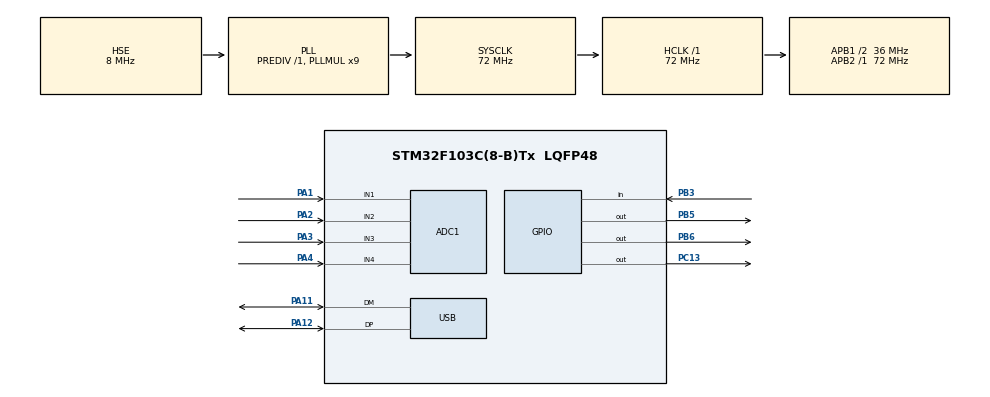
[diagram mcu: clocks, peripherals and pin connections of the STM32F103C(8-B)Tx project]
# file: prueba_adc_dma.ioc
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ADC1.Channel-0\#ChannelRegularConversion=ADC_CHANNEL_1
ADC1.Channel-1\#ChannelRegularConversion=ADC_CHANNEL_2
ADC1.Channel-4\#ChannelRegularConversion=ADC_CHANNEL_3
ADC1.Channel-5\#ChannelRegularConversion=ADC_CHANNEL_4
ADC1.ContinuousConvMode=ENABLE
ADC1.NbrOfConversion=4
ADC1.NbrOfConversionFlag=1
ADC1.Rank-0\#ChannelRegularConversion=1
ADC1.Rank-1\#ChannelRegularConversion=2
ADC1.Rank-4\#ChannelRegularConversion=3
ADC1.Rank-5\#ChannelRegularConversion=4
ADC1.SamplingTime-0\#ChannelRegularConversion=ADC_SAMPLETIME_1CYCLE_5
ADC1.SamplingTime-1\#ChannelRegularConversion=ADC_SAMPLETIME_1CYCLE_5
ADC1.SamplingTime-4\#ChannelRegularConversion=ADC_SAMPLETIME_1CYCLE_5
ADC1.SamplingTime-5\#ChannelRegularConversion=ADC_SAMPLETIME_1CYCLE_5
ADC1.master=1
Dma.ADC1.0.Direction=DMA_PERIPH_TO_MEMORY
Dma.ADC1.0.Instance=DMA1_Channel1
Dma.ADC1.0.MemDataAlignment=DMA_MDATAALIGN_WORD
Dma.ADC1.0.MemInc=DMA_MINC_ENABLE
Dma.ADC1.0.Mode=DMA_CIRCULAR
Dma.ADC1.0.PeriphDataAlignment=DMA_PDATAALIGN_WORD
Dma.ADC1.0.PeriphInc=DMA_PINC_DISABLE
Dma.ADC1.0.Priority=DMA_PRIORITY_LOW
Dma.Request0=ADC1
Mcu.Family=STM32F1
Mcu.Name=STM32F103C(8-B)Tx
Mcu.Package=LQFP48
NVIC.ADC1_2_IRQn=true\:0\:0\:false\:false\:true\:true\:true\:true
NVIC.DMA1_Channel1_IRQn=true\:0\:0\:false\:false\:true\:false\:true\:true
NVIC.PriorityGroup=NVIC_PRIORITYGROUP_4
NVIC.TIM2_IRQn=true\:0\:0\:false\:false\:true\:true\:true\:true
NVIC.USB_LP_CAN1_RX0_IRQn=true\:0\:0\:false\:false\:true\:false\:true\:true
PA1.Signal=ADCx_IN1
PA11.Mode=Device
PA11.Signal=USB_DM
PA12.Mode=Device
PA12.Signal=USB_DP
PA13.Mode=Serial_Wire
PA13.Signal=SYS_JTMS-SWDIO
PA14.Mode=Serial_Wire
PA14.Signal=SYS_JTCK-SWCLK
PA2.Signal=ADCx_IN2
PA3.Signal=ADCx_IN3
PA4.Signal=ADCx_IN4
PB3.Signal=GPIO_Input
PB5.Signal=GPIO_Output
PB6.Signal=GPIO_Output
PC13-TAMPER-RTC.Signal=GPIO_Output
PD0-OSC_IN.Mode=HSE-External-Oscillator
PD0-OSC_IN.Signal=RCC_OSC_IN
PD1-OSC_OUT.Mode=HSE-External-Oscillator
PD1-OSC_OUT.Signal=RCC_OSC_OUT
ProjectManager.HeapSize=0x200
ProjectManager.StackSize=0x400
ProjectManager.TargetToolchain=STM32CubeIDE
RCC.ADCPresc=RCC_ADCPCLK2_DIV8
RCC.AHBFreq_Value=72000000
RCC.APB1CLKDivider=RCC_HCLK_DIV2
RCC.APB1Freq_Value=36000000
RCC.APB1TimFreq_Value=72000000
RCC.APB2Freq_Value=72000000
RCC.APB2TimFreq_Value=72000000
RCC.HCLKFreq_Value=72000000
RCC.PLLMUL=RCC_PLL_MUL9
RCC.PLLSourceVirtual=RCC_PLLSOURCE_HSE
RCC.SYSCLKFreq_VALUE=72000000
RCC.SYSCLKSource=RCC_SYSCLKSOURCE_PLLCLK
RCC.USBFreq_Value=48000000
RCC.USBPrescaler=RCC_USBCLKSOURCE_PLL_DIV1_5
SH.ADCx_IN1.0=ADC1_IN1,IN1
SH.ADCx_IN2.0=ADC1_IN2,IN2
SH.ADCx_IN3.0=ADC1_IN3,IN3
SH.ADCx_IN4.0=ADC1_IN4,IN4
TIM2.AutoReloadPreload=TIM_AUTORELOAD_PRELOAD_ENABLE
TIM2.Period=9
TIM2.Prescaler=7199
USB_DEVICE.CLASS_NAME_FS=CDC
USB_DEVICE.VirtualMode=Cdc
USB_DEVICE.VirtualModeFS=Cdc_FS
VP_TIM2_VS_ClockSourceINT.Mode=Internal
VP_USB_DEVICE_VS_USB_DEVICE_CDC_FS.Mode=CDC_FS
board=custom

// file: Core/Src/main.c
/* USER CODE BEGIN Header */
/**
  ******************************************************************************
  * @file           : main.c
  * @brief          : Main program body
  ******************************************************************************
  * @attention
  *
  * Copyright (c) 2024 STMicroelectronics.
  * All rights reserved.
  *
  * This software is licensed under terms that can be found in the LICENSE file
  * in the root directory of this software component.
  * If no LICENSE file comes with this software, it is provided AS-IS.
  *
  ******************************************************************************
  */
/* USER CODE END Header */
#include "main.h"
#include "usb_device.h"

/* USER CODE BEGIN Includes */
#include "usbd_cdc_if.h"
#include "string.h"
/* USER CODE END Includes */

ADC_HandleTypeDef hadc1;
DMA_HandleTypeDef hdma_adc1;

TIM_HandleTypeDef htim2;

/* USER CODE BEGIN PV */
uint32_t adc_in[4];
uint8_t buffer[64];
//uint32_t sumas_adc[2];
//uint32_t contador_adc;
/* USER CODE END PV */

void SystemClock_Config(void);
static void MX_GPIO_Init(void);
static void MX_DMA_Init(void);
static void MX_ADC1_Init(void);
static void MX_TIM2_Init(void);

int main(void)
{

  /* MCU Configuration--------------------------------------------------------*/

  /* Reset of all peripherals, Initializes the Flash interface and the Systick. */
  HAL_Init();

  /* USER CODE BEGIN Init */
  //sumas_adc[0]=0;
 // sumas_adc[1]=0;
  /* USER CODE END Init */

  /* Configure the system clock */
  SystemClock_Config();

  /* Initialize all configured peripherals */
  MX_GPIO_Init();
  MX_DMA_Init();
  MX_ADC1_Init();
  MX_TIM2_Init();
  MX_USB_DEVICE_Init();
  /* USER CODE BEGIN 2 */
  HAL_TIM_Base_Start_IT(&htim2);
  HAL_ADC_Start_DMA(&hadc1, adc_in, 4);
  //char *str = "Test\n";
  char str[30]="";
  char str_aux[30]="";

  char mode = 'C';
  int valor = 0;
  /* USER CODE END 2 */

  /* Infinite loop */
  /* USER CODE BEGIN WHILE */
  while (1)
  {

	  if(HAL_GPIO_ReadPin(GPIOB,GPIO_PIN_3)==GPIO_PIN_SET){
		  HAL_Delay(300);
		  sprintf(str, "$USB#\n");//manda la solicitud de conexion
		  memset(buffer, '\0',64);
		  CDC_Transmit_FS((uint8_t*) str, strlen(str));
		  HAL_Delay(300);
		  if(buffer[0]=='$' && buffer[1]=='O' && buffer[2]=='K' && buffer[3]=='#'){//si responde la pc, entra al bucle
			while(HAL_GPIO_ReadPin(GPIOB,GPIO_PIN_3)==GPIO_PIN_SET){//mientras no se apreta el boton no se sale del modo

				if (buffer[0]=='$' && buffer[1]=='C' && buffer[9]=='#') {//comando config
					sprintf(str, "$D,%c,%04d,%04d,%04d", mode,valor,(int)adc_in[0],(int)adc_in[1]);
					mode=buffer[3];
					sprintf(str_aux, "%c%c%c%c",buffer[5],buffer[6],buffer[7],buffer[8]);
					valor=atoi(str_aux);
					CDC_Transmit_FS((uint8_t*) str, strlen(str));
					memset(buffer, '\0',64);

				}else if(buffer[0]=='$' && buffer[1]=='R' && buffer[2]=='e' && buffer[3]=='q'){//comando request
					//sprintf(str, "$D,%04d,%04d#\n", (int)adc_in[0],(int)adc_in[1]);
					sprintf(str, "$D,%c,%04d,%04d,%04d", mode,valor,(int)adc_in[0],(int)adc_in[1]);
					CDC_Transmit_FS((uint8_t*) str, strlen(str));
					memset(buffer, '\0',64);
				}
		  //call a funciones de control y display
			}//fin while
		  }//fin if respuesta pc
	  }
	//	    HAL_Delay(1000);
	  //HAL_Delay(300);

    /* USER CODE END WHILE */

  }
}

void SystemClock_Config(void)
{
  RCC_OscInitTypeDef RCC_OscInitStruct = {0};
  RCC_ClkInitTypeDef RCC_ClkInitStruct = {0};
  RCC_PeriphCLKInitTypeDef PeriphClkInit = {0};

  /** Initializes the RCC Oscillators according to the specified parameters
  * in the RCC_OscInitTypeDef structure.
  */
  RCC_OscInitStruct.OscillatorType = RCC_OSCILLATORTYPE_HSE;
  RCC_OscInitStruct.HSEState = RCC_HSE_ON;
  RCC_OscInitStruct.HSEPredivValue = RCC_HSE_PREDIV_DIV1;
  RCC_OscInitStruct.HSIState = RCC_HSI_ON;
  RCC_OscInitStruct.PLL.PLLState = RCC_PLL_ON;
  RCC_OscInitStruct.PLL.PLLSource = RCC_PLLSOURCE_HSE;
  RCC_OscInitStruct.PLL.PLLMUL = RCC_PLL_MUL9;
  if (HAL_RCC_OscConfig(&RCC_OscInitStruct) != HAL_OK)
  {
    Error_Handler();
  }

  /** Initializes the CPU, AHB and APB buses clocks
  */
  RCC_ClkInitStruct.ClockType = RCC_CLOCKTYPE_HCLK|RCC_CLOCKTYPE_SYSCLK
                              |RCC_CLOCKTYPE_PCLK1|RCC_CLOCKTYPE_PCLK2;
  RCC_ClkInitStruct.SYSCLKSource = RCC_SYSCLKSOURCE_PLLCLK;
  RCC_ClkInitStruct.AHBCLKDivider = RCC_SYSCLK_DIV1;
  RCC_ClkInitStruct.APB1CLKDivider = RCC_HCLK_DIV2;
  RCC_ClkInitStruct.APB2CLKDivider = RCC_HCLK_DIV1;

  if (HAL_RCC_ClockConfig(&RCC_ClkInitStruct, FLASH_LATENCY_2) != HAL_OK)
  {
    Error_Handler();
  }
  PeriphClkInit.PeriphClockSelection = RCC_PERIPHCLK_ADC|RCC_PERIPHCLK_USB;
  PeriphClkInit.AdcClockSelection = RCC_ADCPCLK2_DIV8;
  PeriphClkInit.UsbClockSelection = RCC_USBCLKSOURCE_PLL_DIV1_5;
  if (HAL_RCCEx_PeriphCLKConfig(&PeriphClkInit) != HAL_OK)
  {
    Error_Handler();
  }
}

static void MX_ADC1_Init(void)
{

  ADC_ChannelConfTypeDef sConfig = {0};

  /** Common config
  */
  hadc1.Instance = ADC1;
  hadc1.Init.ScanConvMode = ADC_SCAN_ENABLE;
  hadc1.Init.ContinuousConvMode = ENABLE;
  hadc1.Init.DiscontinuousConvMode = DISABLE;
  hadc1.Init.ExternalTrigConv = ADC_SOFTWARE_START;
  hadc1.Init.DataAlign = ADC_DATAALIGN_RIGHT;
  hadc1.Init.NbrOfConversion = 4;
  if (HAL_ADC_Init(&hadc1) != HAL_OK)
  {
    Error_Handler();
  }

  /** Configure Regular Channel
  */
  sConfig.Channel = ADC_CHANNEL_1;
  sConfig.Rank = ADC_REGULAR_RANK_1;
  sConfig.SamplingTime = ADC_SAMPLETIME_1CYCLE_5;
  if (HAL_ADC_ConfigChannel(&hadc1, &sConfig) != HAL_OK)
  {
    Error_Handler();
  }

  /** Configure Regular Channel
  */
  sConfig.Channel = ADC_CHANNEL_2;
  sConfig.Rank = ADC_REGULAR_RANK_2;
  if (HAL_ADC_ConfigChannel(&hadc1, &sConfig) != HAL_OK)
  {
    Error_Handler();
  }

  /** Configure Regular Channel
  */
  sConfig.Channel = ADC_CHANNEL_3;
  sConfig.Rank = ADC_REGULAR_RANK_3;
  if (HAL_ADC_ConfigChannel(&hadc1, &sConfig) != HAL_OK)
  {
    Error_Handler();
  }

  /** Configure Regular Channel
  */
  sConfig.Channel = ADC_CHANNEL_4;
  sConfig.Rank = ADC_REGULAR_RANK_4;
  if (HAL_ADC_ConfigChannel(&hadc1, &sConfig) != HAL_OK)
  {
    Error_Handler();
  }

}

static void MX_TIM2_Init(void)
{

  TIM_ClockConfigTypeDef sClockSourceConfig = {0};
  TIM_MasterConfigTypeDef sMasterConfig = {0};

  htim2.Instance = TIM2;
  htim2.Init.Prescaler = 7199;
  htim2.Init.CounterMode = TIM_COUNTERMODE_UP;
  htim2.Init.Period = 9;
  htim2.Init.ClockDivision = TIM_CLOCKDIVISION_DIV1;
  htim2.Init.AutoReloadPreload = TIM_AUTORELOAD_PRELOAD_ENABLE;
  if (HAL_TIM_Base_Init(&htim2) != HAL_OK)
  {
    Error_Handler();
  }
  sClockSourceConfig.ClockSource = TIM_CLOCKSOURCE_INTERNAL;
  if (HAL_TIM_ConfigClockSource(&htim2, &sClockSourceConfig) != HAL_OK)
  {
    Error_Handler();
  }
  sMasterConfig.MasterOutputTrigger = TIM_TRGO_RESET;
  sMasterConfig.MasterSlaveMode = TIM_MASTERSLAVEMODE_DISABLE;
  if (HAL_TIMEx_MasterConfigSynchronization(&htim2, &sMasterConfig) != HAL_OK)
  {
    Error_Handler();
  }

}

static void MX_DMA_Init(void)
{

  /* DMA controller clock enable */
  __HAL_RCC_DMA1_CLK_ENABLE();

  /* DMA interrupt init */
  /* DMA1_Channel1_IRQn interrupt configuration */
  HAL_NVIC_SetPriority(DMA1_Channel1_IRQn, 0, 0);
  HAL_NVIC_EnableIRQ(DMA1_Channel1_IRQn);

}

static void MX_GPIO_Init(void)
{
  GPIO_InitTypeDef GPIO_InitStruct = {0};

  /* GPIO Ports Clock Enable */
  __HAL_RCC_GPIOC_CLK_ENABLE();
  __HAL_RCC_GPIOD_CLK_ENABLE();
  __HAL_RCC_GPIOA_CLK_ENABLE();
  __HAL_RCC_GPIOB_CLK_ENABLE();

  /*Configure GPIO pin Output Level */
  HAL_GPIO_WritePin(GPIOC, GPIO_PIN_13, GPIO_PIN_RESET);

  /*Configure GPIO pin Output Level */
  HAL_GPIO_WritePin(GPIOB, GPIO_PIN_5|GPIO_PIN_6, GPIO_PIN_RESET);

  /*Configure GPIO pin : PC13 */
  GPIO_InitStruct.Pin = GPIO_PIN_13;
  GPIO_InitStruct.Mode = GPIO_MODE_OUTPUT_PP;
  GPIO_InitStruct.Pull = GPIO_NOPULL;
  GPIO_InitStruct.Speed = GPIO_SPEED_FREQ_LOW;
  HAL_GPIO_Init(GPIOC, &GPIO_InitStruct);

  /*Configure GPIO pin : PB3 */
  GPIO_InitStruct.Pin = GPIO_PIN_3;
  GPIO_InitStruct.Mode = GPIO_MODE_INPUT;
  GPIO_InitStruct.Pull = GPIO_NOPULL;
  HAL_GPIO_Init(GPIOB, &GPIO_InitStruct);

  /*Configure GPIO pins : PB5 PB6 */
  GPIO_InitStruct.Pin = GPIO_PIN_5|GPIO_PIN_6;
  GPIO_InitStruct.Mode = GPIO_MODE_OUTPUT_PP;
  GPIO_InitStruct.Pull = GPIO_NOPULL;
  GPIO_InitStruct.Speed = GPIO_SPEED_FREQ_LOW;
  HAL_GPIO_Init(GPIOB, &GPIO_InitStruct);

}

/* USER CODE BEGIN 4 */
void HAL_TIM_PeriodElapsedCallback(TIM_HandleTypeDef *htim){
if(htim->Instance == TIM2){
	 HAL_GPIO_TogglePin(GPIOC, GPIO_PIN_13);
	 if(adc_in[0]>=adc_in[1]){
		 HAL_GPIO_WritePin(GPIOB, GPIO_PIN_5, GPIO_PIN_SET);
		 HAL_GPIO_WritePin(GPIOB, GPIO_PIN_6, GPIO_PIN_RESET);
	 }else{
		 HAL_GPIO_WritePin(GPIOB, GPIO_PIN_6, GPIO_PIN_SET);
		 HAL_GPIO_WritePin(GPIOB, GPIO_PIN_5, GPIO_PIN_RESET);
	 }
	 //contador_adc=0;

 }
}

/*void HAL_ADC_ConvCpltCallback(ADC_HandleTypeDef* hadc){

	sumas_adc[0]=adc_in[0];
	sumas_adc[1]=adc_in[1];
	contador_adc++;

}*/
/* USER CODE END 4 */

void Error_Handler(void)
{
  __disable_irq();
  while (1){
  	  }
}
